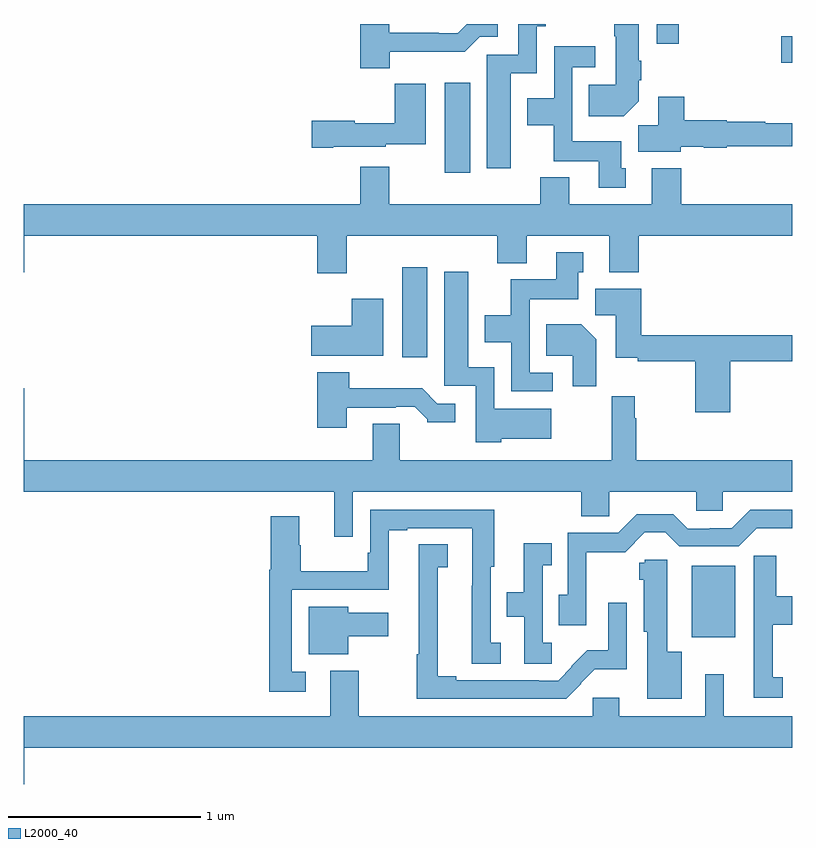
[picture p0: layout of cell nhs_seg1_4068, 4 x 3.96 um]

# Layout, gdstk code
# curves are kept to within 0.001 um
import gdstk
lib = gdstk.Library(unit=1e-6, precision=1e-09)
def R(c, l, rs):  # rectangles x0, y0, x1, y1
    for r in rs: c.add(gdstk.rectangle(r[:2], r[2:], *l))
def P(c, l, *ps):  # polygons
    for p in ps: c.add(gdstk.Polygon(p, *l))
L2000_40 = (2000, 40)

nhs_seg1_4068 = lib.new_cell('nhs_seg1_4068')
R(nhs_seg1_4068, L2000_40, [(336.476,519.008,336.703,519.379), (334.97,520.464,335.101,520.933), (335.192,521.424,335.323,521.893), (336.942,521.998,337,522.135), (336.294,522.096,336.41,522.199)])
P(nhs_seg1_4068, L2000_40, [(335.536,521.942),(335.67,521.942),(335.67,522.187),(335.718,522.187),(335.718,522.199),(335.574,522.199),(335.574,522.039),(335.411,522.039),(335.411,521.448),(335.536,521.448)],
  [(336.202,521.798),(336.202,521.905),(336.215,521.905),(336.215,522.008),(336.202,522.008),(336.202,522.199),(336.073,522.199),(336.073,522.134),(336.08,522.134),(336.08,521.884),(335.941,521.884),(335.941,521.72),(336.124,521.72)],
  [(334.906,522.054),(335.295,522.054),(335.373,522.132),(335.467,522.132),(335.467,522.199),(335.307,522.199),(335.258,522.15),(335.159,522.15),(335.159,522.153),(334.903,522.153),(334.903,522.199),(334.751,522.199),(334.751,521.969),(334.906,521.969)],
  [(336.133,521.448),(336.109,521.448),(336.109,521.59),(335.856,521.59),(335.856,521.973),(335.974,521.973),(335.974,522.082),(335.76,522.082),(335.76,521.812),(335.621,521.812),(335.621,521.672),(335.758,521.672),(335.758,521.486),(335.993,521.486),(335.993,521.346),(336.133,521.346)],
  [(334.612,521.561),(334.884,521.561),(334.884,521.573),(335.092,521.573),(335.092,521.887),(334.93,521.887),(334.93,521.683),(334.722,521.683),(334.722,521.696),(334.5,521.696),(334.5,521.554),(334.612,521.554)],
  [(336.42,521.561),(336.54,521.561),(336.54,521.554),(336.66,521.554),(336.66,521.562),(337,521.562),(337,521.683),(336.86,521.683),(336.86,521.69),(336.66,521.69),(336.66,521.698),(336.437,521.698),(336.437,521.821),(336.302,521.821),(336.302,521.672),(336.197,521.672),(336.197,521.534),(336.42,521.534)],
  [(334.681,521.096),(335.465,521.096),(335.465,520.955),(335.617,520.955),(335.617,521.096),(336.047,521.096),(336.047,520.907),(336.2,520.907),(336.2,521.096),(337,521.096),(337,521.26),(336.422,521.26),(336.422,521.449),(336.269,521.449),(336.269,521.26),(335.839,521.26),(335.839,521.401),(335.687,521.401),(335.687,521.26),(334.903,521.26),(334.903,521.455),(334.751,521.455),(334.751,521.26),(333,521.26),(333,520.908),(333.004,520.908),(333.004,521.096),(334.529,521.096),(334.529,520.902),(334.681,520.902)],
  [(335.752,520.383),(335.634,520.383),(335.634,520.766),(335.887,520.766),(335.887,520.908),(335.911,520.908),(335.911,521.011),(335.771,521.011),(335.771,520.87),(335.536,520.87),(335.536,520.684),(335.399,520.684),(335.399,520.544),(335.538,520.544),(335.538,520.287),(335.752,520.287)],
  [(335.484,520.04),(335.746,520.04),(335.746,520.198),(335.448,520.198),(335.448,520.414),(335.314,520.414),(335.314,520.909),(335.189,520.909),(335.189,520.317),(335.352,520.317),(335.352,520.022),(335.484,520.022)],
  [(336.677,520.444),(337,520.444),(337,520.58),(336.215,520.58),(336.215,520.822),(335.975,520.822),(335.975,520.684),(336.08,520.684),(336.08,520.463),(336.196,520.463),(336.196,520.444),(336.494,520.444),(336.494,520.179),(336.677,520.179)],
  [(334.87,520.77),(334.706,520.77),(334.706,520.63),(334.497,520.63),(334.497,520.472),(334.87,520.472)],
  [(335.98,520.558),(335.902,520.636),(335.719,520.636),(335.719,520.472),(335.858,520.472),(335.858,520.314),(335.98,520.314)],
  [(334.681,520.203),(334.937,520.203),(334.937,520.206),(335.036,520.206),(335.1,520.142),(335.1,520.127),(335.245,520.127),(335.245,520.224),(335.151,520.224),(335.073,520.303),(334.694,520.303),(334.694,520.387),(334.529,520.387),(334.529,520.097),(334.681,520.097)],
  [(334.713,519.764),(335.902,519.764),(335.902,519.637),(336.048,519.637),(336.048,519.764),(336.501,519.764),(336.501,519.666),(336.639,519.666),(336.639,519.764),(337,519.764),(337,519.928),(336.188,519.928),(336.188,520.148),(336.181,520.148),(336.181,520.261),(336.06,520.261),(336.06,519.928),(334.957,519.928),(334.957,520.118),(334.817,520.118),(334.817,519.928),(333.004,519.928),(333.004,520.303),(333,520.303),(333,519.764),(334.616,519.764),(334.616,519.531),(334.713,519.531)],
  [(334.468,518.829),(334.395,518.829),(334.395,519.255),(334.9,519.255),(334.9,519.564),(334.996,519.564),(334.996,519.576),(335.334,519.576),(335.334,519.275),(335.333,519.275),(335.333,518.869),(335.482,518.869),(335.482,518.98),(335.43,518.98),(335.43,519.375),(335.449,519.375),(335.449,519.672),(334.803,519.672),(334.803,519.448),(334.791,519.448),(334.791,519.352),(334.443,519.352),(334.443,519.486),(334.435,519.486),(334.435,519.637),(334.286,519.637),(334.286,519.358),(334.279,519.358),(334.279,518.724),(334.468,518.724)],
  [(335.928,519.451),(336.13,519.451),(336.232,519.554),(336.338,519.554),(336.411,519.48),(336.72,519.48),(336.815,519.575),(337,519.576),(337,519.672),(336.78,519.672),(336.684,519.576),(336.569,519.576),(336.569,519.573),(336.456,519.573),(336.38,519.649),(336.19,519.649),(336.093,519.552),(335.832,519.552),(335.832,519.23),(335.785,519.23),(335.785,519.069),(335.928,519.069)],
  [(335.749,518.98),(335.7,518.98),(335.7,519.383),(335.747,519.383),(335.747,519.496),(335.603,519.496),(335.603,519.242),(335.515,519.242),(335.515,519.114),(335.604,519.114),(335.604,518.869),(335.749,518.869)],
  [(335.902,518.765),(335.9,518.768),(335.973,518.841),(336.138,518.841),(336.138,519.187),(336.042,519.187),(336.042,518.939),(335.933,518.939),(335.85,518.856),(335.853,518.853),(335.781,518.781),(335.681,518.781),(335.681,518.784),(335.251,518.784),(335.251,518.804),(335.156,518.804),(335.156,519.373),(335.206,519.373),(335.206,519.491),(335.057,519.491),(335.057,518.918),(335.046,518.918),(335.046,518.688),(335.824,518.688)],
  [(336.949,518.799),(336.899,518.799),(336.899,519.074),(337,519.074),(337,519.222),(336.916,519.222),(336.916,519.433),(336.8,519.433),(336.8,518.694),(336.949,518.694)],
  [(336.424,518.932),(336.349,518.932),(336.349,519.411),(336.231,519.411),(336.231,519.396),(336.203,519.396),(336.203,519.306),(336.227,519.306),(336.227,519.036),(336.246,519.036),(336.246,518.687),(336.424,518.687)],
  [(334.69,519.014),(334.897,519.014),(334.897,519.136),(334.69,519.136),(334.69,519.166),(334.484,519.166),(334.484,518.918),(334.69,518.918)],
  [(333.004,518.432),(337,518.432),(337,518.596),(336.643,518.596),(336.643,518.815),(336.546,518.815),(336.546,518.596),(336.1,518.596),(336.1,518.692),(335.961,518.692),(335.961,518.596),(334.743,518.596),(334.743,518.833),(334.595,518.833),(334.595,518.596),(333,518.596),(333,518.244),(333.004,518.244)])

lib.write_gds('nhs_seg1_4068.gds')
